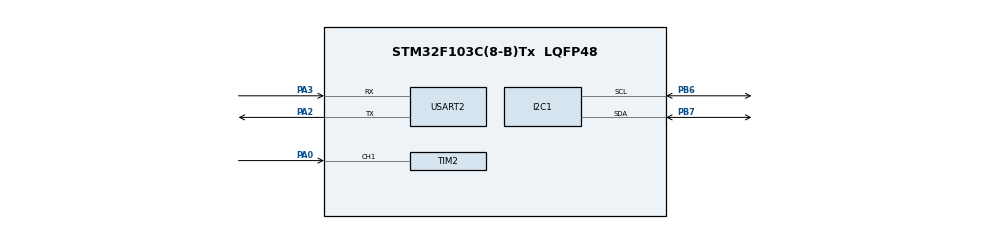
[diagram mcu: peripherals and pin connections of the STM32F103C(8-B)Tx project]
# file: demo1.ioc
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Mcu.Family=STM32F1
Mcu.Name=STM32F103C(8-B)Tx
Mcu.Package=LQFP48
NVIC.PriorityGroup=NVIC_PRIORITYGROUP_4
NVIC.TIM2_IRQn=true\:0\:0\:false\:false\:true\:true\:true\:true
PA0-WKUP.Signal=S_TIM2_CH1_ETR
PA13.Mode=Serial_Wire
PA13.Signal=SYS_JTMS-SWDIO
PA14.Mode=Serial_Wire
PA14.Signal=SYS_JTCK-SWCLK
PA2.Mode=Asynchronous
PA2.Signal=USART2_TX
PA3.Mode=Asynchronous
PA3.Signal=USART2_RX
PB6.Mode=I2C
PB6.Signal=I2C1_SCL
PB7.Mode=I2C
PB7.Signal=I2C1_SDA
ProjectManager.HeapSize=0x200
ProjectManager.StackSize=0x400
ProjectManager.TargetToolchain=MDK-ARM V5.32
RCC.APB1Freq_Value=8000000
RCC.APB2Freq_Value=8000000
SH.S_TIM2_CH1_ETR.0=TIM2_CH1,TriggerSource_TI1FP1
TIM2.Period=5000-1
TIM2.Prescaler=8000-1
USART2.VirtualMode=VM_ASYNC
VP_TIM2_VS_ClockSourceINT.Mode=Internal
VP_TIM2_VS_ControllerModeReset.Mode=Reset Mode
board=custom

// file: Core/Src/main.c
/* USER CODE BEGIN Header */
/**
  ******************************************************************************
  * @file           : main.c
  * @brief          : Main program body
  ******************************************************************************
  * @attention
  *
  * Copyright (c) 2025 STMicroelectronics.
  * All rights reserved.
  *
  * This software is licensed under terms that can be found in the LICENSE file
  * in the root directory of this software component.
  * If no LICENSE file comes with this software, it is provided AS-IS.
  *
  ******************************************************************************
  */
/* USER CODE END Header */
#include "main.h"
#include "i2c.h"
#include "tim.h"
#include "usart.h"
#include "gpio.h"

/* USER CODE BEGIN Includes */
#include "oled.h"
#include "stdio.h"
#include "string.h"
/* USER CODE END Includes */

void SystemClock_Config(void);

/* USER CODE BEGIN 0 */
char updateMsg[]="�Զ����";
void HAL_TIM_PeriodElapsedCallback(TIM_HandleTypeDef *htim)
{
	if(htim==&htim2)
	{
		HAL_UART_Transmit(&huart2,(uint8_t*)updateMsg,strlen(updateMsg),100);

	}
}
/* USER CODE END 0 */

int main(void)
{

  /* MCU Configuration--------------------------------------------------------*/

  /* Reset of all peripherals, Initializes the Flash interface and the Systick. */
  HAL_Init();

  /* Configure the system clock */
  SystemClock_Config();

  /* Initialize all configured peripherals */
  MX_GPIO_Init();
  MX_I2C1_Init();
  MX_TIM2_Init();
  MX_USART2_UART_Init();
  /* USER CODE BEGIN 2 */
  HAL_Delay(20);
	OLED_Init();
	HAL_TIM_Base_Start_IT(&htim2);
	int counter=0;
	char message[20]="";
  /* USER CODE END 2 */

  /* Infinite loop */
  /* USER CODE BEGIN WHILE */
  while (1)
  {
	  counter=__HAL_TIM_GET_COUNTER(&htim2);
	  sprintf(message,"counter: %d",counter);
	  HAL_UART_Transmit(&huart2,(uint8_t*)message,strlen(message),100);
	  HAL_Delay(500);
    /* USER CODE END WHILE */

  }
}

void SystemClock_Config(void)
{
  RCC_OscInitTypeDef RCC_OscInitStruct = {0};
  RCC_ClkInitTypeDef RCC_ClkInitStruct = {0};

  /** Initializes the RCC Oscillators according to the specified parameters
  * in the RCC_OscInitTypeDef structure.
  */
  RCC_OscInitStruct.OscillatorType = RCC_OSCILLATORTYPE_HSI;
  RCC_OscInitStruct.HSIState = RCC_HSI_ON;
  RCC_OscInitStruct.HSICalibrationValue = RCC_HSICALIBRATION_DEFAULT;
  RCC_OscInitStruct.PLL.PLLState = RCC_PLL_NONE;
  if (HAL_RCC_OscConfig(&RCC_OscInitStruct) != HAL_OK)
  {
    Error_Handler();
  }

  /** Initializes the CPU, AHB and APB buses clocks
  */
  RCC_ClkInitStruct.ClockType = RCC_CLOCKTYPE_HCLK|RCC_CLOCKTYPE_SYSCLK
                              |RCC_CLOCKTYPE_PCLK1|RCC_CLOCKTYPE_PCLK2;
  RCC_ClkInitStruct.SYSCLKSource = RCC_SYSCLKSOURCE_HSI;
  RCC_ClkInitStruct.AHBCLKDivider = RCC_SYSCLK_DIV1;
  RCC_ClkInitStruct.APB1CLKDivider = RCC_HCLK_DIV1;
  RCC_ClkInitStruct.APB2CLKDivider = RCC_HCLK_DIV1;

  if (HAL_RCC_ClockConfig(&RCC_ClkInitStruct, FLASH_LATENCY_0) != HAL_OK)
  {
    Error_Handler();
  }
}

void Error_Handler(void)
{
  __disable_irq();
  while (1)
  {
  }
}
